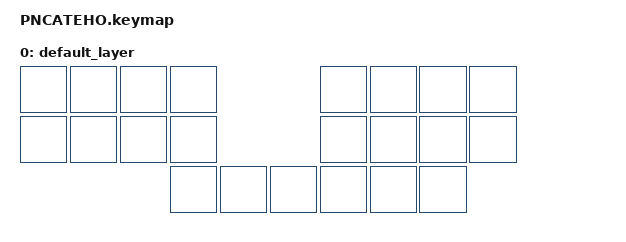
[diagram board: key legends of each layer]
/*
 * Copyright (c) 2020 The ZMK Contributors
 * SPDX-License-Identifier: MIT
 */
#include <behaviors.dtsi>
#include <dt-bindings/zmk/bt.h>
#include <dt-bindings/zmk/keys.h>
#include <dt-bindings/zmk/outputs.h>
#include <dt-bindings/zmk/ext_power.h>

// CONFIG
#define COMBO_TIMEOUT 70
#define COMBO_LAYERS 0
#define STICKY_TIMEOUT 500

// LEFT SIDE ONLY - ЛОГИЧЕСКИЕ ПОЗИЦИИ (из matrix_transform)
#define TLP 0   // TOP LEFT PRIMARY
#define TLR 1   // TOP LEFT ROW
#define TLM 2   // TOP LEFT MIDDLE
#define TLI 3   // TOP LEFT INNER
#define BLP 4   // BOTTOM LEFT PRIMARY
#define BLR 5   // BOTTOM LEFT ROW
#define BLM 6   // BOTTOM LEFT MIDDLE
#define BLI 7   // BOTTOM LEFT INNER
#define LOT 8   // O-THUMB LEFT (Backspace)
#define LIT 9   // I-THUMB LEFT (Space)

&sk {
    release-after-ms = <STICKY_TIMEOUT>;
    quick-release;
};

/ {
  combos {
    compatible = "zmk,combos";
    #include "chords.dtsi"
  };

  keymap {
    compatible = "zmk,keymap";

    default_layer {
      bindings = <
        &none &none &none &none               &none &none &none &none     
        &none &none &none &none               &none &none &none &none     
                          &none &none   &none &none &none &none     
      >;
    };
  };
};
